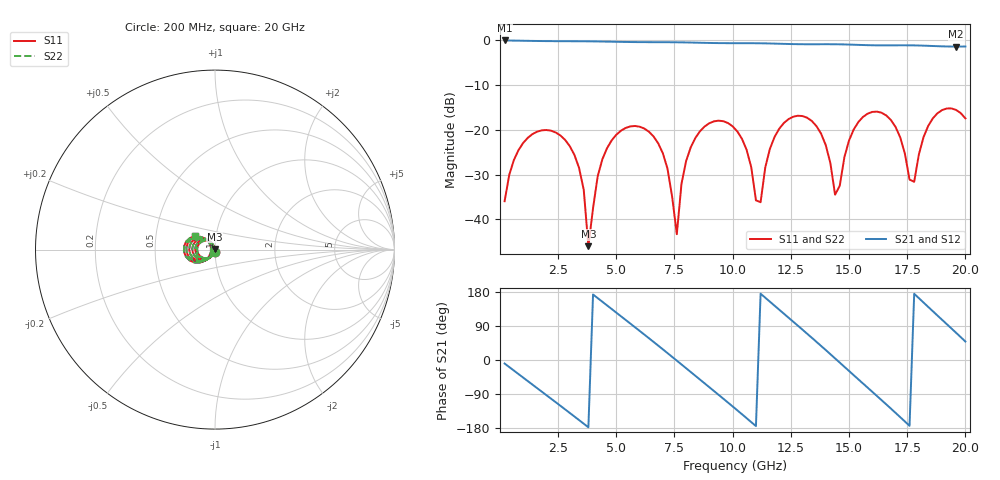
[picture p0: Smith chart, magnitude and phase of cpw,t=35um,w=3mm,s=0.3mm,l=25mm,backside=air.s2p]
# HZ S RI R 50
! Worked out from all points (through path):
!   100 points, 200 MHz to 20 GHz, reference 50 ohm
!   highest |S21| = -0.02 dB at 200 MHz (marker M1); lowest = -1.4 dB at 19.6 GHz (marker M2)
!   group delay of S21, straight-line fit = 143 ps
!   lowest |S11| = -46.0 dB at 3.8 GHz (marker M3), VSWR 1.01, Z = 49.7 + j0.417 ohm
!   |S11| at or under -10 dB: start of sweep to end of sweep
!   |S22| runs from -46.0 to -15.2 dB; largest |S21 - S12| = 0
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2e8  -0.00277 -0.0157  0.9848 -0.1616  0.9848 -0.1616  -0.00277 -0.0157
8e8  -0.0365 -0.0472  0.7897 -0.6007  0.7897 -0.6007  -0.0365 -0.0472
2e9  -0.0995 0.00511  -0.051 -0.9802  -0.051 -0.9802  -0.0995 0.00511
3.6e9  -0.00672 0.0203  -0.9555 -0.2013  -0.9555 -0.2013  -0.00672 0.0203
3.8e9  -0.00275 0.0042  -0.9746 -0.0404  -0.9746 -0.0404  -0.00275 0.0042
4.2e9  -0.0113 -0.0282  -0.9315 0.2798  -0.9315 0.2798  -0.0113 -0.0282
4.8e9  -0.056 -0.0518  -0.6782 0.6886  -0.6782 0.6886  -0.056 -0.0518
5.8e9  -0.1103 0.00635  0.0572 0.9556  0.0572 0.9556  -0.1103 0.00635
6.8e9  -0.0466 0.0532  0.7525 0.5872  0.7525 0.5872  -0.0466 0.0532
7.6e9  -0.00594 -0.00336  0.9513 -0.0284  0.9513 -0.0284  -0.00594 -0.00336
8.4e9  -0.058 -0.0573  0.703 -0.6292  0.703 -0.6292  -0.058 -0.0573
1.02e10  -0.0744 0.0608  -0.6326 -0.682  -0.6326 -0.682  -0.0744 0.0608
1.12e10  -0.0111 -0.0109  -0.9241 0.0805  -0.9241 0.0805  -0.0111 -0.0109
1.2e10  -0.0806 -0.0641  -0.623 0.6732  -0.623 0.6732  -0.0806 -0.0641
1.34e10  -0.1109 0.0592  0.4702 0.7732  0.4702 0.7732  -0.1109 0.0592
1.44e10  -0.0159 0.0102  0.9022 0.0676  0.9022 0.0676  -0.0159 0.0102
1.56e10  -0.1268 -0.0582  0.4163 -0.7834  0.4163 -0.7834  -0.1268 -0.0582
1.68e10  -0.1081 0.07  -0.5449 -0.6904  -0.5449 -0.6904  -0.1081 0.07
1.78e10  -0.0227 -0.0133  -0.8753 0.0801  -0.8753 0.0801  -0.0227 -0.0133
1.84e10  -0.0832 -0.0727  -0.6681 0.5561  -0.6681 0.5561  -0.0832 -0.0727
1.96e10  -0.161 0.0445  0.2659 0.8106  0.2659 0.8106  -0.161 0.0445
2e10  -0.1117 0.0749  0.5625 0.6429  0.5625 0.6429  -0.1117 0.0749
